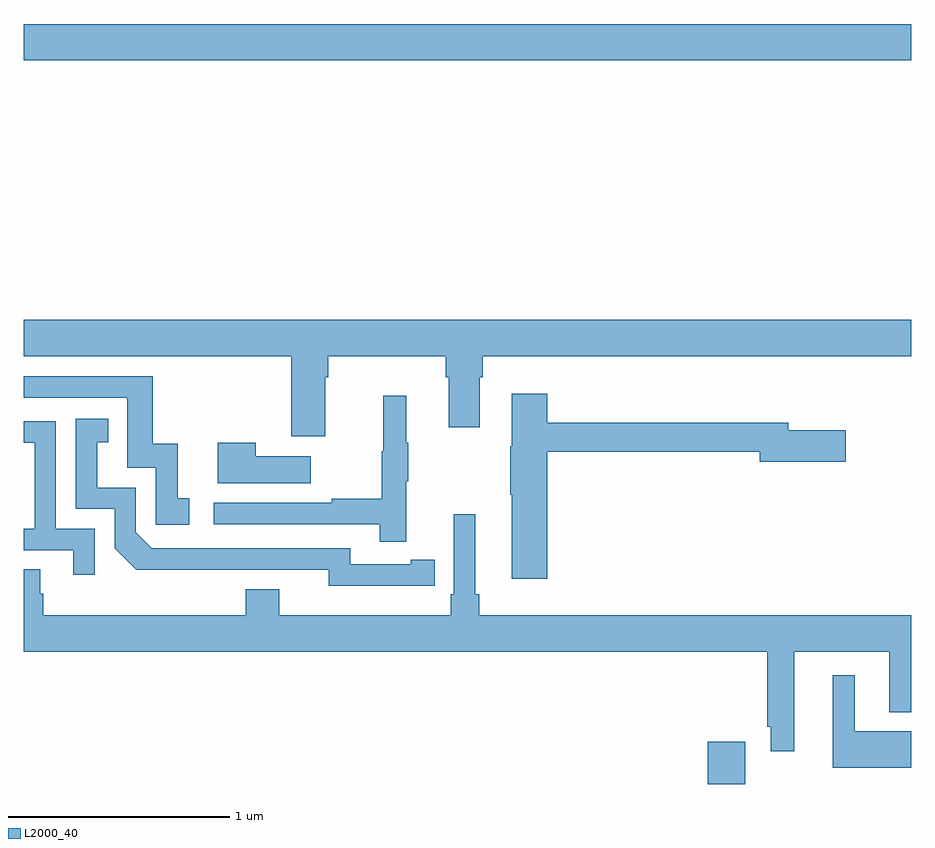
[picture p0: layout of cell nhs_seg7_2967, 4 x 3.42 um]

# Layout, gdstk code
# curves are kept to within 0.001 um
import gdstk
lib = gdstk.Library(unit=1e-6, precision=1e-09)
def R(c, l, rs):  # rectangles x0, y0, x1, y1
    for r in rs: c.add(gdstk.rectangle(r[:2], r[2:], *l))
def P(c, l, *ps):  # polygons
    for p in ps: c.add(gdstk.Polygon(p, *l))
L2000_40 = (2000, 40)

nhs_seg7_2967 = lib.new_cell('nhs_seg7_2967')
R(nhs_seg7_2967, L2000_40, [(304.082,1020,304.252,1020.19), (301,1023.26,305,1023.424)])
P(nhs_seg7_2967, L2000_40, [(302.359,1021.832),(302.372,1021.832),(302.372,1021.928),(302.903,1021.928),(302.903,1021.832),(302.915,1021.832),(302.915,1021.608),(303.055,1021.608),(303.055,1021.832),(303.068,1021.832),(303.068,1021.928),(305,1021.928),(305,1022.092),(301,1022.092),(301,1021.928),(302.207,1021.928),(302.207,1021.566),(302.359,1021.566)],
  [(301.747,1021.287),(301.694,1021.287),(301.694,1021.534),(301.583,1021.534),(301.583,1021.836),(301,1021.836),(301,1021.74),(301.467,1021.74),(301.467,1021.425),(301.596,1021.425),(301.596,1021.167),(301.747,1021.167)],
  [(303.359,1021.498),(304.316,1021.498),(304.316,1021.451),(304.705,1021.451),(304.705,1021.593),(304.444,1021.593),(304.444,1021.627),(303.359,1021.627),(303.359,1021.759),(303.2,1021.759),(303.2,1021.521),(303.193,1021.521),(303.193,1021.303),(303.2,1021.303),(303.2,1020.924),(303.359,1020.924)],
  [(302.723,1021.363),(302.734,1021.363),(302.734,1021.537),(302.723,1021.537),(302.723,1021.75),(302.62,1021.75),(302.62,1021.5),(302.613,1021.5),(302.613,1021.286),(302.389,1021.286),(302.389,1021.266),(301.857,1021.266),(301.857,1021.17),(302.605,1021.17),(302.605,1021.092),(302.723,1021.092)],
  [(302.744,1020.894),(302.852,1020.894),(302.852,1021.01),(302.744,1021.01),(302.744,1020.99),(302.472,1020.99),(302.472,1021.062),(301.578,1021.062),(301.506,1021.134),(301.506,1021.335),(301.333,1021.335),(301.333,1021.539),(301.382,1021.539),(301.382,1021.645),(301.236,1021.645),(301.236,1021.239),(301.41,1021.239),(301.41,1021.062),(301.508,1020.965),(302.376,1020.966),(302.376,1020.893)],
  [(301.32,1021.149),(301.146,1021.149),(301.146,1021.635),(301,1021.635),(301,1021.538),(301.05,1021.538),(301.05,1021.149),(301,1021.149),(301,1021.053),(301.223,1021.053),(301.223,1020.942),(301.32,1020.942)],
  [(302.293,1021.477),(302.045,1021.477),(302.045,1021.537),(301.874,1021.537),(301.874,1021.355),(302.293,1021.355)],
  [(304.471,1020.596),(304.901,1020.596),(304.901,1020.323),(305,1020.323),(305,1020.76),(303.053,1020.76),(303.053,1020.856),(303.034,1020.856),(303.034,1021.216),(302.937,1021.216),(302.937,1020.856),(302.924,1020.856),(302.924,1020.76),(302.152,1020.76),(302.152,1020.877),(302,1020.877),(302,1020.76),(301.088,1020.76),(301.088,1020.858),(301.075,1020.858),(301.075,1020.968),(301,1020.968),(301,1020.596),(304.35,1020.596),(304.35,1020.259),(304.367,1020.259),(304.367,1020.147),(304.471,1020.147)],
  [(305,1020.238),(304.744,1020.238),(304.744,1020.49),(304.646,1020.49),(304.646,1020.074),(305,1020.074)])

lib.write_gds('nhs_seg7_2967.gds')
